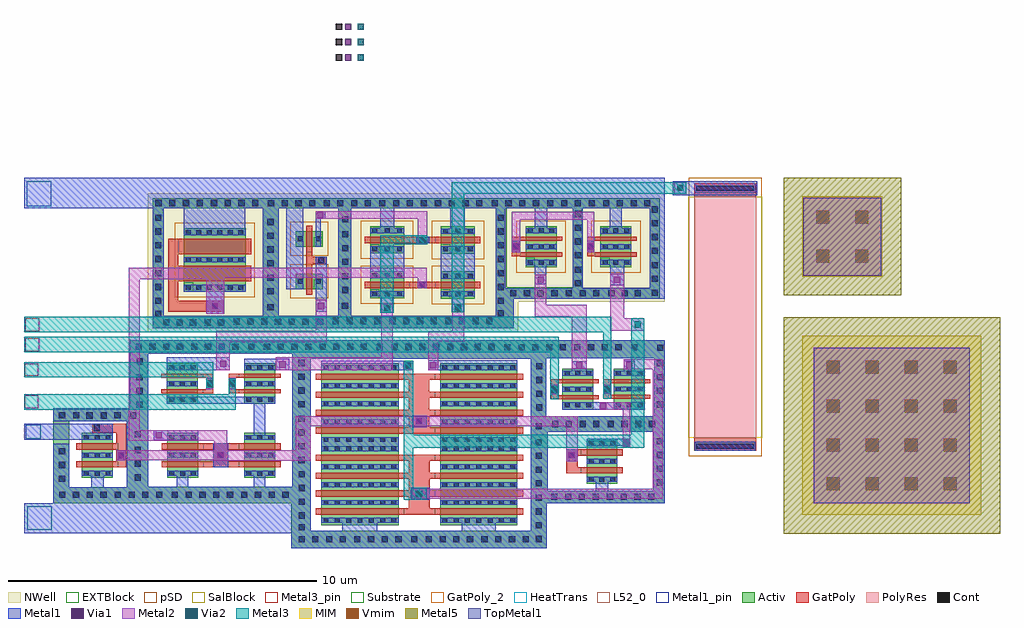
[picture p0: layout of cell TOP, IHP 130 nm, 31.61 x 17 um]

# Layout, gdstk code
from math import pi, radians
import gdstk
lib = gdstk.Library(unit=1e-6, precision=1e-09)
def R(c, l, rs):  # rectangles x0, y0, x1, y1
    for r in rs: c.add(gdstk.rectangle(r[:2], r[2:], *l))
def A(c, l, x, y, w, h, nx, ny, dx, dy):  # array of equal rectangles
    R(c, l, [(x+i*dx, y+j*dy, x+i*dx+w, y+j*dy+h) for i in range(nx) for j in range(ny)])
def P(c, l, *ps):  # polygons
    for p in ps: c.add(gdstk.Polygon(p, *l))
Activ = (1, 0)
GatPoly = (5, 0)
GatPoly_2 = (5, 2)
Cont = (6, 0)
Metal1 = (8, 0)
Metal1_pin = (8, 2)
Metal2 = (10, 0)
pSD = (14, 0)
Via1 = (19, 0)
SalBlock = (28, 0)
Via2 = (29, 0)
Metal3 = (30, 0)
Metal3_pin = (30, 2)
NWell = (31, 0)
MIM = (36, 0)
Substrate = (40, 0)
HeatTrans = (51, 0)
L52_0 = (52, 0)
Metal5 = (67, 0)
EXTBlock = (111, 0)
TopMetal1 = (126, 0)
PolyRes = (128, 0)
Vmim = (129, 0)

pmos_1 = lib.new_cell('pmos$1')
R(pmos_1, Activ, [(0,0,0.3,0.3), (0,0,0.88,0.5), (0.58,0,0.88,0.3)])
R(pmos_1, GatPoly, [(0.34,-0.18,0.54,0.68), (0.34,-0.18,0.54,0.68)])
R(pmos_1, Cont, [(0.07,0.17,0.23,0.33), (0.65,0.17,0.81,0.33)])
R(pmos_1, Metal1, [(0.07,0,0.23,0.5), (0.07,0,0.23,0.5), (0.65,0,0.81,0.5), (0.65,0,0.81,0.5)])
R(pmos_1, pSD, [(-0.18,-0.3,1.06,0.8)])
R(pmos_1, NWell, [(-0.31,-0.31,1.19,0.81)])
R(pmos_1, Substrate, [(0.58,0,0.88,0.3)])
R(pmos_1, HeatTrans, [(0.34,-0.18,0.54,0.68)])
pmos_1.add(gdstk.Label('pmos', (0.44,0.25), layer=63, texttype=0))
pmos_1.add(gdstk.Label('pmos', (0.44,0.25), layer=51, texttype=0))

pmos = lib.new_cell('pmos')
A(pmos, Activ, 0, 0, 0.3, 0.3, 3, 1, 0.88, 0)
R(pmos, Activ, [(0,0,2.06,2)])
R(pmos, GatPoly, [(0.34,-0.18,0.84,2.18), (0.34,-0.18,0.84,2.18), (1.22,-0.18,1.72,2.18)])
A(pmos, Cont, 0.07, 0.07, 0.16, 0.16, 3, 6, 0.88, 0.34)
R(pmos, Metal1, [(0.07,0,0.23,2), (0.07,0,0.23,2), (0.95,0,1.11,2), (0.95,0,1.11,2), (1.83,0,1.99,2)])
R(pmos, pSD, [(-0.18,-0.3,2.24,2.3)])
R(pmos, NWell, [(-0.31,-0.31,2.37,2.31)])
R(pmos, Substrate, [(1.76,0,2.06,0.3)])
R(pmos, HeatTrans, [(0.34,-0.18,0.84,2.18), (1.22,-0.18,1.72,2.18)])
pmos.add(gdstk.Label('pmos', (0.59,1), layer=63, texttype=0))
pmos.add(gdstk.Label('pmos', (0.59,1), layer=51, texttype=0))
pmos.add(gdstk.Label('pmos', (1.47,1), layer=51, texttype=0))

pmos_3 = lib.new_cell('pmos$3')
R(pmos_3, Activ, [(0,0,0.3,0.3), (0,0,0.88,1.1), (0.58,0,0.88,0.3)])
R(pmos_3, GatPoly, [(0.34,-0.18,0.54,1.28), (0.34,-0.18,0.54,1.28)])
A(pmos_3, Cont, 0.07, 0.07, 0.16, 0.16, 1, 3, 0, 0.4)
A(pmos_3, Cont, 0.65, 0.07, 0.16, 0.16, 1, 3, 0, 0.4)
R(pmos_3, Metal1, [(0.07,0,0.23,1.1), (0.07,0,0.23,1.1), (0.65,0,0.81,1.1), (0.65,0,0.81,1.1)])
R(pmos_3, pSD, [(-0.18,-0.3,1.06,1.4)])
R(pmos_3, NWell, [(-0.31,-0.31,1.19,1.41)])
R(pmos_3, Substrate, [(0.58,0,0.88,0.3)])
R(pmos_3, HeatTrans, [(0.34,-0.18,0.54,1.28)])
pmos_3.add(gdstk.Label('pmos', (0.44,0.55), layer=63, texttype=0))
pmos_3.add(gdstk.Label('pmos', (0.44,0.55), layer=51, texttype=0))

pmos_5 = lib.new_cell('pmos$5')
A(pmos_5, Activ, 0, 0, 0.3, 0.3, 3, 1, 0.51, 0)
R(pmos_5, Activ, [(0,0,1.32,1)])
R(pmos_5, GatPoly, [(0.34,-0.18,0.47,1.18), (0.34,-0.18,0.47,1.18), (0.85,-0.18,0.98,1.18)])
A(pmos_5, Cont, 0.07, 0.07, 0.16, 0.16, 3, 3, 0.51, 0.35)
R(pmos_5, Metal1, [(0.07,0,0.23,1), (0.07,0,0.23,1), (0.58,0,0.74,1), (0.58,0,0.74,1), (1.09,0,1.25,1)])
R(pmos_5, pSD, [(-0.18,-0.3,1.5,1.3)])
R(pmos_5, NWell, [(-0.31,-0.31,1.63,1.31)])
R(pmos_5, Substrate, [(1.02,0,1.32,0.3)])
R(pmos_5, HeatTrans, [(0.34,-0.18,0.47,1.18), (0.85,-0.18,0.98,1.18)])
pmos_5.add(gdstk.Label('pmos', (0.405,0.5), layer=63, texttype=0))
pmos_5.add(gdstk.Label('pmos', (0.405,0.5), layer=51, texttype=0))
pmos_5.add(gdstk.Label('pmos', (0.915,0.5), layer=51, texttype=0))

nmos = lib.new_cell('nmos')
A(nmos, Activ, 0, 0, 0.3, 0.3, 3, 1, 0.51, 0)
R(nmos, Activ, [(0,0,1.32,1)])
R(nmos, GatPoly, [(0.34,-0.18,0.47,1.18), (0.85,-0.18,0.98,1.18)])
R(nmos, GatPoly_2, [(0.34,-0.18,0.47,1.18)])
A(nmos, Cont, 0.07, 0.07, 0.16, 0.16, 3, 3, 0.51, 0.35)
A(nmos, Metal1, 0.07, 0, 0.16, 1, 3, 1, 0.51, 0)
R(nmos, Metal1_pin, [(0.07,0,0.23,1), (0.58,0,0.74,1)])
R(nmos, HeatTrans, [(0.34,-0.18,0.47,1.18), (0.85,-0.18,0.98,1.18)])
nmos.add(gdstk.Label('nmos', (0.405,0.5), layer=63, texttype=0))
nmos.add(gdstk.Label('nmos', (0.405,0.5), layer=51, texttype=0))
nmos.add(gdstk.Label('nmos', (0.915,0.5), layer=51, texttype=0))

nmos_5 = lib.new_cell('nmos$5')
A(nmos_5, Activ, 0, 0, 0.3, 0.3, 3, 1, 0.58, 0)
R(nmos_5, Activ, [(0,0,1.46,1)])
R(nmos_5, GatPoly, [(0.34,-0.18,0.54,1.18), (0.92,-0.18,1.12,1.18)])
R(nmos_5, GatPoly_2, [(0.34,-0.18,0.54,1.18)])
A(nmos_5, Cont, 0.07, 0.07, 0.16, 0.16, 3, 3, 0.58, 0.35)
A(nmos_5, Metal1, 0.07, 0, 0.16, 1, 3, 1, 0.58, 0)
R(nmos_5, Metal1_pin, [(0.07,0,0.23,1), (0.65,0,0.81,1)])
R(nmos_5, HeatTrans, [(0.34,-0.18,0.54,1.18), (0.92,-0.18,1.12,1.18)])
nmos_5.add(gdstk.Label('nmos', (0.44,0.5), layer=63, texttype=0))
nmos_5.add(gdstk.Label('nmos', (0.44,0.5), layer=51, texttype=0))
nmos_5.add(gdstk.Label('nmos', (1.02,0.5), layer=51, texttype=0))

nmos_4 = lib.new_cell('nmos$4')
A(nmos_4, Activ, 0, 0, 0.3, 0.3, 5, 1, 0.58, 0)
R(nmos_4, Activ, [(0,0,2.62,2.5)])
A(nmos_4, GatPoly, 0.34, -0.18, 0.2, 2.86, 4, 1, 0.58, 0)
R(nmos_4, GatPoly_2, [(0.34,-0.18,0.54,2.68)])
A(nmos_4, Cont, 0.07, 0.07, 0.16, 0.16, 5, 3, 0.58, 0.365)
A(nmos_4, Cont, 0.07, 1.17, 0.16, 0.16, 5, 3, 0.58, 0.365)
A(nmos_4, Cont, 0.07, 2.27, 0.16, 0.16, 5, 1, 0.58, 0)
A(nmos_4, Metal1, 0.07, 0, 0.16, 2.5, 5, 1, 0.58, 0)
R(nmos_4, Metal1_pin, [(0.07,0,0.23,2.5), (0.65,0,0.81,2.5)])
A(nmos_4, HeatTrans, 0.34, -0.18, 0.2, 2.86, 4, 1, 0.58, 0)
nmos_4.add(gdstk.Label('nmos', (0.44,1.25), layer=63, texttype=0))
nmos_4.add(gdstk.Label('nmos', (0.44,1.25), layer=51, texttype=0))
nmos_4.add(gdstk.Label('nmos', (1.02,1.25), layer=51, texttype=0))
nmos_4.add(gdstk.Label('nmos', (1.6,1.25), layer=51, texttype=0))
nmos_4.add(gdstk.Label('nmos', (2.18,1.25), layer=51, texttype=0))

cmim = lib.new_cell('cmim')
R(cmim, MIM, [(0,0,2.6,2.6)])
R(cmim, Metal5, [(-0.6,-0.6,3.2,3.2)])
R(cmim, TopMetal1, [(0.035,0.035,2.555,2.555)])
R(cmim, Vmim, [(0.455,0.455,0.875,0.875), (1.715,0.455,2.135,0.875), (0.455,1.715,0.875,2.135), (1.715,1.715,2.135,2.135)])

cmim_2 = lib.new_cell('cmim$2')
R(cmim_2, MIM, [(0,0,5.8,5.8)])
R(cmim_2, Metal5, [(-0.6,-0.6,6.4,6.4)])
R(cmim_2, TopMetal1, [(0.375,0.375,5.415,5.415)])
A(cmim_2, Vmim, 0.795, 0.795, 0.42, 0.42, 4, 4, 1.26, 1.26)

rppd = lib.new_cell('rppd')
R(rppd, GatPoly, [(0,-0.43,2,-0.2), (0,-0.2,2,0), (0,7.8,2,8), (0,8,2,8.23)])
R(rppd, Cont, [(0.07,-0.36,1.93,-0.2), (0.07,8,1.93,8.16)])
R(rppd, Metal1, [(0.02,-0.43,1.98,-0.13), (0.02,7.93,1.98,8.23)])
R(rppd, Metal1_pin, [(0.02,-0.43,1.98,-0.13), (0.02,7.93,1.98,8.23)])
R(rppd, pSD, [(-0.18,-0.61,2.18,0), (-0.18,0,2.18,7.8), (-0.18,7.8,2.18,8.41)])
R(rppd, SalBlock, [(-0.2,0,2.2,7.8)])
R(rppd, L52_0, [(0,0,2,7.8)])
R(rppd, EXTBlock, [(-0.18,-0.61,2.18,0), (-0.2,0,2.2,7.8), (-0.18,7.8,2.18,8.41)])
R(rppd, PolyRes, [(0,0,2,7.8)])
rppd.add(gdstk.Label('rpnd r=1045.967', (1,3.9), layer=63, texttype=0))
rppd.add(gdstk.Label('rppd', (1,3.9), layer=52, texttype=0))

top = lib.new_cell('TOP')
P(top, Activ, [(-5.825,0.625),(-5.825,4.51),(-5.485,4.51),(-5.485,4.345),(-5.48,4.345),(-5.48,1.04),(-2.265,1.04),(-2.265,4.51),(-1.755,4.51),(-1.755,1.04),(0.175,1.04),(0.175,4.51),(0.595,4.51),(0.595,1.04),(5.27,1.04),(5.27,4.51),(5.63,4.51),(5.63,1.955),(7.775,1.955),(7.775,4.51),(8.085,4.51),(8.085,1.945),(10.265,1.945),(10.265,4.51),(-5.825,4.51),(-5.825,4.845),(10.595,4.845),(10.595,1.59),(5.855,1.59),(5.855,0.625)],
  [(-1.35,-6.5),(-1.35,-5.04),(-9.05,-5.04),(-9.05,-2.385),(-8.535,-2.385),(-8.535,-4.51),(-6.665,-4.51),(-6.665,-2.385),(-9.05,-2.385),(-9.05,-1.96),(-6.57,-1.96),(-6.57,-0.19),(-5.98,-0.19),(-5.98,-4.495),(-1.315,-4.495),(-1.315,-0.35),(-0.72,-0.35),(-0.72,-2.765),(-0.72,-5.925),(6.405,-5.925),(6.405,-2.72),(6.96,-2.72),(6.96,-4.63),(10.38,-4.63),(10.38,-2.72),(6.405,-2.72),(6.405,-0.35),(-1.315,-0.35),(-1.315,-0.345),(6.915,-0.345),(6.915,-2.22),(10.415,-2.22),(10.415,-0.345),(-1.315,-0.345),(-1.315,-0.19),(-6.57,-0.19),(-6.57,0.25),(10.745,0.25),(10.745,-5.04),(6.92,-5.04),(6.92,-6.5)])
R(top, GatPoly, [(1.03,1.925,4.78,2.14), (1.035,3.39,4.78,3.6)])
P(top, GatPoly, [(-5.335,1.16),(-5.335,3.525),(-2.645,3.525),(-2.645,3.04),(-5.005,3.04),(-5.005,2.65),(-2.645,2.65),(-2.645,2.16),(-5.005,2.16),(-5.005,1.52),(-3.515,1.52),(-3.515,1.16)],
  [(-0.865,1.725),(-0.865,3.955),(-0.665,3.955),(-0.665,2.955),(-0.2,2.955),(-0.2,2.715),(-0.665,2.715),(-0.665,1.725)],
  [(5.79,2.96),(5.79,3.6),(7.425,3.6),(7.425,3.47),(6.07,3.47),(6.07,3.085),(7.425,3.085),(7.425,2.96)],
  [(8.235,2.96),(8.235,3.595),(9.845,3.595),(9.845,3.47),(8.46,3.47),(8.46,3.085),(9.845,3.085),(9.845,2.96)],
  [(-8.31,-3.875),(-8.31,-3.675),(-7.02,-3.675),(-7.02,-3.295),(-8.31,-3.295),(-8.31,-3.095),(-7.02,-3.095),(-7.02,-2.745),(-7.795,-2.745),(-7.795,-2.455),(-6.695,-2.455),(-6.695,-3.875)],
  [(-5.545,-3.875),(-5.545,-3.675),(-3.875,-3.675),(-3.875,-3.295),(-5.545,-3.295),(-5.545,-3.095),(-1.685,-3.095),(-1.685,-3.295),(-3.39,-3.295),(-3.39,-3.675),(-1.685,-3.675),(-1.685,-3.875)],
  [(-5.55,-1.48),(-5.55,-1.35),(-4.1,-1.35),(-4.1,-0.97),(-5.55,-0.97),(-5.55,-0.84),(-3.87,-0.84),(-3.87,-1.48)],
  [(-3.37,-1.48),(-3.37,-0.84),(-1.685,-0.84),(-1.685,-0.97),(-3.14,-0.97),(-3.14,-1.35),(-1.685,-1.35),(-1.685,-1.48)],
  [(8.75,-1.655),(8.75,-1.015),(10.28,-1.015),(10.28,-1.145),(8.995,-1.145),(8.995,-1.525),(10.28,-1.525),(10.28,-1.655)],
  [(7.555,-4.065),(7.555,-3.285),(9.395,-3.285),(9.395,-3.49),(7.93,-3.49),(7.93,-3.865),(9.395,-3.865),(9.395,-4.065)],
  [(7.05,-1.66),(7.05,-1.02),(8.615,-1.02),(8.615,-1.15),(7.3,-1.15),(7.3,-1.53),(8.615,-1.53),(8.615,-1.66)],
  [(-0.55,-5.4),(-0.55,-5.2),(2.455,-5.2),(2.455,-4.82),(-0.55,-4.82),(-0.55,-4.62),(2.46,-4.62),(2.46,-4.24),(-0.55,-4.24),(-0.55,-4.04),(2.465,-4.04),(2.465,-3.66),(-0.55,-3.66),(-0.55,-3.46),(6.16,-3.46),(6.16,-3.66),(3.145,-3.66),(3.145,-4.04),(6.16,-4.04),(6.16,-4.24),(3.145,-4.24),(3.145,-4.62),(6.16,-4.62),(6.16,-4.82),(3.145,-4.82),(3.145,-5.2),(6.16,-5.2),(6.16,-5.4)],
  [(-0.55,-2.78),(-0.55,-2.58),(2.465,-2.58),(2.465,-2.2),(-0.55,-2.2),(-0.55,-2),(2.465,-2),(2.465,-1.62),(-0.55,-1.62),(-0.55,-1.42),(2.465,-1.42),(2.465,-1.04),(-0.55,-1.04),(-0.55,-0.84),(6.16,-0.84),(6.16,-1.04),(3.115,-1.04),(3.115,-1.42),(6.16,-1.42),(6.16,-1.62),(3.115,-1.62),(3.115,-2),(6.16,-2),(6.16,-2.2),(3.115,-2.2),(3.115,-2.58),(6.16,-2.58),(6.16,-2.78)])
A(top, Cont, 3.01, -6.305, 0.2, 0.2, 4, 1, 0.445, 0)
A(top, Cont, 4.81, -6.305, 0.2, 0.2, 4, 1, 0.445, 0)
A(top, Cont, 6.565, -6.29, 0.2, 0.2, 1, 4, 0, 0.445)
A(top, Cont, -1.11, -5.53, 0.2, 0.2, 1, 4, 0, 0.445)
A(top, Cont, 7.075, -4.925, 0.2, 0.2, 4, 1, 0.445, 0)
A(top, Cont, 8.875, -4.925, 0.2, 0.2, 4, 1, 0.445, 0)
A(top, Cont, -4.765, -4.86, 0.2, 0.2, 4, 1, 0.445, 0)
A(top, Cont, -2.965, -4.86, 0.2, 0.2, 4, 1, 0.445, 0)
A(top, Cont, -8.86, -4.855, 0.2, 0.2, 4, 1, 0.445, 0)
A(top, Cont, -7.06, -4.855, 0.2, 0.2, 4, 1, 0.445, 0)
A(top, Cont, 6.565, -4.49, 0.2, 0.2, 1, 4, 0, 0.445)
A(top, Cont, 10.485, -4.465, 0.2, 0.2, 1, 4, 0, 0.445)
A(top, Cont, -8.87, -4.34, 0.2, 0.2, 1, 3, 0, 0.445)
A(top, Cont, -6.42, -4.3, 0.2, 0.2, 1, 3, 0, 0.445)
A(top, Cont, -1.115, -3.735, 0.2, 0.2, 1, 4, 0, 0.445)
A(top, Cont, 7.1, -2.57, 0.2, 0.2, 4, 1, 0.445, 0)
A(top, Cont, 8.9, -2.57, 0.2, 0.2, 4, 1, 0.445, 0)
A(top, Cont, 6.585, -2.035, 0.2, 0.2, 1, 4, 0, 0.445)
A(top, Cont, -6.36, -1.945, 0.2, 0.2, 1, 3, 0, 0.445)
A(top, Cont, 10.495, -1.94, 0.2, 0.2, 1, 4, 0, 0.445)
A(top, Cont, -1.115, -1.93, 0.2, 0.2, 1, 4, 0, 0.445)
A(top, Cont, 6.015, -0.08, 0.2, 0.2, 4, 1, 0.445, 0)
A(top, Cont, 7.815, -0.08, 0.2, 0.2, 4, 1, 0.445, 0)
A(top, Cont, 1.905, -0.075, 0.2, 0.2, 4, 1, 0.445, 0)
A(top, Cont, 3.705, -0.075, 0.2, 0.2, 4, 1, 0.445, 0)
A(top, Cont, -2.23, -0.07, 0.2, 0.2, 4, 1, 0.445, 0)
A(top, Cont, -0.43, -0.07, 0.2, 0.2, 4, 1, 0.445, 0)
A(top, Cont, -6.385, -0.065, 0.2, 0.2, 4, 1, 0.445, 0)
A(top, Cont, -4.585, -0.065, 0.2, 0.2, 4, 1, 0.445, 0)
A(top, Cont, -1.875, 0.745, 0.2, 0.2, 3, 1, 0.445, 0)
A(top, Cont, -3.21, 0.75, 0.2, 0.2, 3, 1, 0.445, 0)
A(top, Cont, 0, 0.765, 0.2, 0.2, 4, 1, 0.445, 0)
A(top, Cont, 1.835, 0.765, 0.2, 0.2, 4, 1, 0.445, 0)
A(top, Cont, 3.635, 0.765, 0.2, 0.2, 4, 1, 0.445, 0)
A(top, Cont, -5.755, 1.42, 0.2, 0.2, 1, 3, 0, 0.445)
A(top, Cont, 7.545, 1.66, 0.2, 0.2, 3, 1, 0.445, 0)
A(top, Cont, -2.115, 2.635, 0.2, 0.2, 1, 4, 0, 0.445)
A(top, Cont, 0.3, 2.681, 0.2, 0.2, 1, 3, 0, 0.445)
A(top, Cont, -5.755, 2.775, 0.2, 0.2, 1, 4, 0, 0.445)
A(top, Cont, 5.335, 2.775, 0.2, 0.2, 1, 4, 0, 0.445)
A(top, Cont, 7.84, 2.895, 0.2, 0.2, 1, 4, 0, 0.445)
A(top, Cont, 10.33, 3.041, 0.2, 0.2, 1, 4, 0, 0.445)
A(top, Cont, 1.505, 4.575, 0.2, 0.2, 4, 1, 0.445, 0)
A(top, Cont, 3.305, 4.575, 0.2, 0.2, 4, 1, 0.445, 0)
A(top, Cont, -2.1, 4.58, 0.2, 0.2, 4, 1, 0.445, 0)
A(top, Cont, -0.3, 4.58, 0.2, 0.2, 4, 1, 0.445, 0)
A(top, Cont, 5.145, 4.58, 0.2, 0.2, 4, 1, 0.445, 0)
A(top, Cont, 6.945, 4.58, 0.2, 0.2, 4, 1, 0.445, 0)
A(top, Cont, 8.75, 4.58, 0.2, 0.2, 4, 1, 0.445, 0)
A(top, Cont, -5.745, 4.585, 0.2, 0.2, 4, 1, 0.445, 0)
A(top, Cont, -3.945, 4.585, 0.2, 0.2, 4, 1, 0.445, 0)
A(top, Cont, 0.1, 9.3, 0.2, 0.2, 1, 3, 0, 0.5)
R(top, Cont, [(2.535,-6.305,2.735,-6.105), (2.535,-6.305,2.735,-6.105), (-1.11,-6.3,-0.91,-6.1), (-1.11,-6.3,-0.91,-6.1), (-0.665,-6.3,-0.465,-6.1), (-0.665,-6.3,-0.465,-6.1), (-0.22,-6.3,-0.02,-6.1), (-0.22,-6.3,-0.02,-6.1), (0.225,-6.3,0.425,-6.1), (0.225,-6.3,0.425,-6.1), (0.69,-6.3,0.89,-6.1), (0.69,-6.3,0.89,-6.1), (1.135,-6.3,1.335,-6.1), (1.135,-6.3,1.335,-6.1), (1.58,-6.3,1.78,-6.1), (1.58,-6.3,1.78,-6.1), (2.025,-6.3,2.225,-6.1), (2.025,-6.3,2.225,-6.1), (-1.11,-5.91,-0.91,-5.71), (-5.215,-4.86,-5.015,-4.66), (2.69,-4.825,2.89,-4.625), (-6.95,-3.59,-6.75,-3.39), (7.63,-3.58,7.83,-3.38), (-3.735,-3.575,-3.535,-3.375), (-6.415,-2.9,-6.215,-2.7), (-7.74,-2.7,-7.54,-2.5), (6.57,-2.645,6.77,-2.445), (2.7,-2.48,2.9,-2.28), (-7.98,-2.295,-7.78,-2.095), (-7.515,-2.295,-7.315,-2.095), (-6.56,-2.295,-6.36,-2.095), (-8.87,-2.29,-8.67,-2.09), (-8.405,-2.29,-8.205,-2.09), (-7.07,-2.29,-6.87,-2.09), (7.075,-1.45,7.275,-1.25), (8.77,-1.445,8.97,-1.245), (-4.085,-1.26,-3.885,-1.06), (-3.355,-1.255,-3.155,-1.055), (-6.355,-0.545,-6.155,-0.345), (10.5,-0.095,10.7,0.105), (9.66,-0.085,9.86,0.115), (5.55,-0.08,5.75,0.12), (1.415,-0.075,1.615,0.125), (-2.74,-0.07,-2.54,0.13), (-5.06,0.72,-4.86,0.92), (-4.625,0.72,-4.425,0.92), (-4.155,0.72,-3.955,0.92), (-3.72,0.72,-3.52,0.92), (-5.49,0.725,-5.29,0.925), (-0.515,0.745,-0.315,0.945), (-5.755,0.995,-5.555,1.195), (5.335,1.015,5.535,1.215), (-2.115,1.215,-1.915,1.415), (-3.92,1.24,-3.72,1.44), (0.295,1.26,0.495,1.46), (5.335,1.419,5.535,1.619), (6.625,1.655,6.825,1.855), (5.745,1.66,5.945,1.86), (6.19,1.66,6.39,1.86), (7.08,1.66,7.28,1.86), (8.925,1.66,9.125,1.86), (9.35,1.66,9.55,1.86), (9.77,1.66,9.97,1.86), (10.33,1.685,10.53,1.885), (-2.115,1.725,-1.915,1.925), (0.3,1.771,0.5,1.971), (5.335,1.865,5.535,2.065), (2.8,1.93,3,2.13), (7.84,1.985,8.04,2.185), (10.33,2.131,10.53,2.331), (-2.115,2.17,-1.915,2.37), (0.3,2.216,0.5,2.416), (5.335,2.31,5.535,2.51), (7.84,2.43,8.04,2.63), (10.33,2.576,10.53,2.776), (-0.475,2.735,-0.275,2.935), (5.83,3.18,6.03,3.38), (8.245,3.18,8.445,3.38), (2.805,3.395,3.005,3.595), (0.3,4.06,0.5,4.26)])
R(top, Metal1, [(2.52,-4.92,3.145,-4.535), (-3.875,-3.875,-3.39,-3.095), (7.555,-3.67,7.925,-3.285), (-7,-3.65,-6.7,-3.325), (-0.37,-3.35,2.13,-2.89), (3.48,-3.35,5.98,-2.89), (8.215,-3.175,9.625,-2.95), (-5.805,-3,-4.365,-2.675), (-10,-2.985,-7.13,-2.455), (2.565,-2.58,3.035,-2.2), (7.435,-2,10.1,-1.765), (7.05,-1.5,7.3,-1.2), (8.75,-1.495,8.995,-1.2), (-4.1,-1.35,-3.87,-0.97), (-3.37,-1.35,-3.14,-0.97), (-5.37,-0.73,-3.33,-0.31), (-2.865,-0.73,-1.405,-0.35), (-0.37,-0.73,2.6,-0.42), (3.09,-0.73,5.98,-0.41), (-0.555,1.16,-0.2,2.955), (2.75,1.925,3.045,2.14), (3.5,2.24,4.6,3.28), (1.21,2.25,2.31,3.29), (5.79,3.085,6.07,3.465), (8.235,3.09,8.46,3.465), (2.7,3.39,3.115,3.6), (11.005,4.945,13.75,5.4)])
P(top, Metal1, [(-5.825,0.625),(-5.825,4.51),(-2.83,4.51),(-2.83,3.655),(-4.825,3.655),(-4.825,4.51),(-5.48,4.51),(-5.48,1.04),(-2.265,1.04),(-2.265,4.51),(-0.955,4.51),(-0.955,1.9),(-1.515,1.9),(-1.515,4.51),(-1.755,4.51),(-1.755,1.04),(0.175,1.04),(0.175,4.51),(4.28,4.51),(4.28,3.86),(4.6,3.86),(4.6,3.7),(3.5,3.7),(3.5,3.86),(3.805,3.86),(3.805,4.51),(1.99,4.51),(1.99,3.87),(2.31,3.87),(2.31,3.71),(1.21,3.71),(1.21,3.87),(1.54,3.87),(1.54,4.51),(0.6,4.51),(0.6,2.585),(0.595,2.585),(0.595,2.25),(0.6,2.25),(0.6,1.04),(5.27,1.04),(5.27,4.51),(6.95,4.51),(6.95,3.865),(7.245,3.865),(7.245,3.705),(6.25,3.705),(6.25,3.865),(6.545,3.865),(6.545,4.51),(5.59,4.51),(5.59,1.925),(7.775,1.925),(7.775,4.51),(9.36,4.51),(9.36,3.865),(9.665,3.865),(9.665,3.7),(8.665,3.7),(8.665,3.865),(8.975,3.865),(8.975,4.51),(8.09,4.51),(8.09,1.935),(10.265,1.935),(10.265,4.51),(-9.995,4.51),(-9.995,5.5),(10.75,5.5),(10.75,1.59),(5.855,1.59),(5.855,0.625)],
  [(-4.1,1.105),(-4.1,1.815),(-4.825,1.815),(-4.825,2.045),(-2.825,2.045),(-2.825,1.815),(-3.515,1.815),(-3.515,1.105)],
  [(1.575,1.14),(1.575,1.67),(1.215,1.67),(1.215,1.83),(2.31,1.83),(2.31,1.67),(1.945,1.67),(1.945,1.14)],
  [(3.86,1.15),(3.86,1.665),(3.5,1.665),(3.5,1.825),(4.6,1.825),(4.6,1.665),(4.245,1.665),(4.245,1.15)],
  [(-0.555,3.275),(-0.555,4.415),(-0.25,4.415),(-0.25,4.18),(-0.395,4.18),(-0.395,3.275)],
  [(6.545,2.05),(6.545,2.665),(6.245,2.665),(6.245,2.845),(7.245,2.845),(7.245,2.665),(6.915,2.665),(6.915,2.05)],
  [(8.98,2.025),(8.98,2.685),(8.665,2.685),(8.665,2.845),(9.665,2.845),(9.665,2.685),(9.43,2.685),(9.43,2.025)],
  [(-2.865,-2.985),(-2.865,-2.825),(-2.565,-2.825),(-2.565,-1.82),(-5.37,-1.82),(-5.37,-1.59),(-1.865,-1.59),(-1.865,-1.82),(-2.18,-1.82),(-2.18,-2.825),(-1.865,-2.825),(-1.865,-2.985)],
  [(-1.35,-6.5),(-1.35,-6),(-9.995,-6),(-9.995,-5.04),(-9.05,-5.04),(-9.05,-3.115),(-8.535,-3.115),(-8.535,-4.51),(-7.825,-4.51),(-7.825,-4.14),(-8.13,-4.14),(-8.13,-3.98),(-7.13,-3.98),(-7.13,-4.14),(-7.425,-4.14),(-7.425,-4.51),(-6.665,-4.51),(-6.665,-2.385),(-9.05,-2.385),(-9.05,-1.96),(-6.57,-1.96),(-6.57,-0.19),(-5.98,-0.19),(-5.98,-4.495),(-5.06,-4.495),(-5.06,-4.145),(-5.365,-4.145),(-5.365,-3.98),(-4.365,-3.98),(-4.365,-4.145),(-4.675,-4.145),(-4.675,-4.495),(-2.555,-4.495),(-2.555,-4.145),(-2.86,-4.145),(-2.86,-3.985),(-1.865,-3.985),(-1.865,-4.145),(-2.18,-4.145),(-2.18,-4.495),(-1.315,-4.495),(-1.315,-0.35),(-0.72,-0.35),(-0.72,-5.925),(0.31,-5.925),(0.31,-5.67),(-0.37,-5.67),(-0.37,-5.51),(2.13,-5.51),(2.13,-5.67),(1.435,-5.67),(1.435,-5.925),(4.18,-5.925),(4.18,-5.665),(3.48,-5.665),(3.48,-5.5),(5.98,-5.5),(5.98,-5.665),(5.27,-5.665),(5.27,-5.925),(6.405,-5.925),(6.405,-2.72),(6.96,-2.72),(6.96,-4.63),(8.515,-4.63),(8.515,-4.335),(8.215,-4.335),(8.215,-4.17),(9.215,-4.17),(9.215,-4.335),(8.925,-4.335),(8.925,-4.63),(10.38,-4.63),(10.38,-2.72),(6.405,-2.72),(6.405,-0.35),(-1.315,-0.35),(-1.315,-0.345),(6.915,-0.345),(6.915,-2.22),(10.415,-2.22),(10.415,-0.345),(-1.315,-0.345),(-1.315,-0.19),(-6.57,-0.19),(-6.57,0.25),(10.745,0.25),(10.745,-5.04),(6.92,-5.04),(6.92,-6.5)],
  [(7.435,-0.91),(7.435,-0.75),(7.745,-0.75),(7.745,-0.435),(8.215,-0.435),(8.215,-0.75),(8.435,-0.75),(8.435,-0.91)],
  [(9.1,-0.905),(9.1,-0.745),(9.425,-0.745),(9.425,-0.425),(9.78,-0.425),(9.78,-0.745),(10.1,-0.745),(10.1,-0.905)])
R(top, Metal1_pin, [(-9.9,-5.9,-9.1,-5.14), (-9.95,-2.95,-9.45,-2.5), (-9.915,4.59,-9.115,5.39)])
R(top, Metal2, [(7.05,-1.5,7.3,-1.2), (8.75,-1.495,8.995,-1.2), (-4.1,-1.35,-3.87,-0.97), (-3.37,-1.35,-3.14,-0.97), (2.285,-0.73,2.6,-0.42), (11.05,4.985,11.45,5.365)])
P(top, Metal2, [(-1.845,-0.73),(-1.845,-0.3),(1.575,-0.3),(1.575,1.42),(1.94,1.42),(1.94,-0.73)],
  [(3.09,-0.73),(3.09,0.54),(3.86,0.54),(3.86,1.41),(4.25,1.41),(4.25,0.2),(3.86,0.2),(3.86,0.205),(3.415,0.205),(3.415,-0.73)],
  [(2.755,3.39),(2.755,4.18),(-0.555,4.18),(-0.555,4.415),(3.055,4.415),(3.055,3.39)],
  [(5.79,3.09),(5.79,4.4),(8.46,4.4),(8.46,3.09),(8.24,3.09),(8.24,4.15),(6.07,4.15),(6.07,3.09)],
  [(-3.77,-0.73),(-3.77,0.545),(-0.555,0.545),(-0.555,1.55),(-0.2,1.55),(-0.2,0.18),(-3.33,0.18),(-3.33,-0.73)],
  [(7.745,-0.68),(7.745,1),(6.545,1),(6.545,2.36),(6.915,2.36),(6.915,1.4),(8.215,1.4),(8.215,-0.68)],
  [(8.98,0.555),(8.98,2.4),(9.43,2.4),(9.43,0.96),(10.085,0.96),(10.085,0.555)],
  [(7.555,-3.675),(7.555,-2.545),(-0.72,-2.545),(-0.72,-3.655),(-3.845,-3.655),(-3.845,-3.65),(-7,-3.65),(-7,-3.325),(-3.845,-3.325),(-3.845,-3.005),(-5.855,-3.005),(-6.605,-3.005),(-6.605,2.59),(3.05,2.59),(3.05,1.925),(2.75,1.925),(2.75,2.265),(-3.51,2.265),(-3.51,1.105),(-4.1,1.105),(-4.1,2.215),(-6.25,2.215),(-6.25,-2.675),(-3.42,-2.675),(-3.42,-3.325),(-1.205,-3.325),(-1.205,-2.225),(7.555,-2.225),(7.555,-2.22),(7.925,-2.22),(7.925,-3.675)],
  [(9.385,-3.2),(9.385,-2),(8.64,-2),(8.64,-1.765),(9.635,-1.765),(9.635,-3.2)],
  [(2.555,-4.885),(2.555,-4.565),(10.355,-4.565),(10.355,-0.69),(9.425,-0.69),(9.425,-0.38),(10.685,-0.38),(10.685,-4.885)])
P(top, pSD, [(-1.35,-6.5),(-1.35,-5.04),(-9.05,-5.04),(-9.05,-2.385),(-8.535,-2.385),(-8.535,-4.51),(-6.665,-4.51),(-6.665,-2.385),(-9.05,-2.385),(-9.05,-1.96),(-6.57,-1.96),(-6.57,-0.19),(-5.98,-0.19),(-5.98,-4.495),(-1.315,-4.495),(-1.315,-0.35),(-0.72,-0.35),(-0.72,-5.925),(6.405,-5.925),(6.405,-2.72),(6.96,-2.72),(6.96,-4.63),(10.38,-4.63),(10.38,-2.72),(6.405,-2.72),(6.405,-0.35),(-1.315,-0.35),(-1.315,-0.345),(6.915,-0.345),(6.915,-2.22),(10.415,-2.22),(10.415,-0.345),(-1.315,-0.345),(-1.315,-0.19),(-6.57,-0.19),(-6.57,0.25),(10.745,0.25),(10.745,-5.04),(6.92,-5.04),(6.92,-6.5)])
A(top, Via1, 0.4, 9.3, 0.2, 0.2, 1, 3, 0, 0.5)
R(top, Via1, [(2.69,-4.825,2.89,-4.625), (-6.95,-3.59,-6.75,-3.39), (7.63,-3.58,7.83,-3.38), (-3.735,-3.575,-3.535,-3.375), (9.405,-3.165,9.605,-2.965), (-5.74,-2.935,-5.54,-2.735), (2.7,-2.48,2.9,-2.28), (8.66,-1.98,8.86,-1.78), (7.075,-1.45,7.275,-1.25), (8.77,-1.445,8.97,-1.245), (-4.085,-1.26,-3.885,-1.06), (-3.355,-1.255,-3.155,-1.055), (2.34,-0.675,2.54,-0.475), (3.145,-0.67,3.345,-0.47), (7.88,-0.66,8.08,-0.46), (9.495,-0.645,9.695,-0.445), (-1.73,-0.64,-1.53,-0.44), (-3.65,-0.615,-3.45,-0.415), (1.66,1.18,1.86,1.38), (3.955,1.185,4.155,1.385), (-3.92,1.24,-3.72,1.44), (-0.48,1.25,-0.28,1.45), (2.8,1.93,3,2.13), (6.635,2.105,6.835,2.305), (9.105,2.105,9.305,2.305), (5.83,3.18,6.03,3.38), (8.245,3.18,8.445,3.38), (2.805,3.395,3.005,3.595), (-0.51,4.2,-0.31,4.4), (11.15,5.08,11.35,5.28)])
A(top, Via2, 0.8, 9.3, 0.2, 0.2, 1, 3, 0, 0.5)
R(top, Via2, [(2.69,-4.825,2.89,-4.625), (7.075,-1.45,7.275,-1.25), (8.77,-1.445,8.97,-1.245), (-4.085,-1.26,-3.885,-1.06), (-3.355,-1.255,-3.155,-1.055), (2.34,-0.675,2.54,-0.475), (9.775,0.655,9.975,0.855), (1.66,1.18,1.86,1.38), (3.955,1.185,4.155,1.385), (2.805,3.395,3.005,3.595), (11.15,5.08,11.35,5.28)])
P(top, Metal3, [(-4.1,-1.295),(-4.1,-0.95),(-10,-0.95),(-10,-0.465),(-3.87,-0.465),(-3.87,-1.295)],
  [(-10,-2),(-10,-1.5),(-3.37,-1.5),(-3.37,-1.005),(-3.14,-1.005),(-3.14,-2)],
  [(1.535,1.14),(1.535,3.645),(3.055,3.645),(3.055,3.345),(1.98,3.345),(1.98,1.14)],
  [(7.045,-1.66),(7.045,-0.145),(-10,-0.145),(-10,0.355),(7.31,0.355),(7.31,0.005),(7.31,-1.66)],
  [(8.75,-1.655),(8.75,0.5),(-10,0.5),(-10,1),(9.01,1),(9.01,-1.655)],
  [(3.855,1.155),(3.855,5.365),(11.45,5.365),(11.45,4.985),(4.25,4.985),(4.25,1.155)],
  [(2.29,-4.92),(2.29,-0.42),(2.61,-0.42),(2.61,-2.815),(9.66,-2.815),(9.66,0.96),(10.085,0.96),(10.085,-3.235),(2.61,-3.235),(2.61,-4.535),(3.035,-4.535),(3.035,-4.92)])
R(top, Metal3_pin, [(-9.97,-0.9,-9.545,-0.52), (-9.965,-0.11,-9.51,0.315), (-9.965,0.535,-9.5,0.955)])
P(top, Metal3_pin, [(-9.98,-1.965),(-9.98,-1.54),(-9.54,-1.54),(-9.54,-1.555),(-9.54,-1.965)])
P(top, NWell, [(-5.995,0.51),(-5.995,5),(10.75,5),(10.75,1.495),(6,1.495),(6,0.51)])
top.add(gdstk.Reference(pmos_1, (-1.205,1.9)))
top.add(gdstk.Reference(pmos_1, (-1.205,3.275)))
top.add(gdstk.Reference(pmos, (-4.825,3.875), rotation=3*pi/2))
top.add(gdstk.Reference(pmos_3, (3.5,2.47), rotation=3*pi/2))
top.add(gdstk.Reference(pmos_3, (3.5,3.93), rotation=3*pi/2))
top.add(gdstk.Reference(pmos_3, (1.21,2.48), rotation=3*pi/2))
top.add(gdstk.Reference(pmos_3, (1.21,3.94), rotation=3*pi/2))
top.add(gdstk.Reference(pmos_5, (6.245,3.935), rotation=3*pi/2))
top.add(gdstk.Reference(nmos, (-5.37,-0.5), rotation=3*pi/2))
top.add(gdstk.Reference(pmos_5, (8.665,3.935), rotation=3*pi/2))
top.add(gdstk.Reference(nmos, (-2.865,-0.5), rotation=3*pi/2))
top.add(gdstk.Reference(nmos, (7.435,-0.68), rotation=3*pi/2))
top.add(gdstk.Reference(nmos, (9.1,-0.675), rotation=3*pi/2))
top.add(gdstk.Reference(nmos_5, (-5.365,-2.755), rotation=3*pi/2))
top.add(gdstk.Reference(nmos_5, (-2.865,-2.755), rotation=3*pi/2))
top.add(gdstk.Reference(nmos_5, (-8.13,-2.755), rotation=3*pi/2))
top.add(gdstk.Reference(nmos_5, (8.215,-2.945), rotation=3*pi/2))
top.add(gdstk.Reference(nmos_4, (3.48,-3.12), rotation=3*pi/2))
top.add(gdstk.Reference(nmos_4, (3.48,-0.5), rotation=3*pi/2))
top.add(gdstk.Reference(nmos_4, (-0.37,-3.12), rotation=3*pi/2))
top.add(gdstk.Reference(nmos_4, (-0.37,-0.5), rotation=3*pi/2))
top.add(gdstk.Reference(cmim, (15.2,2.3)))
top.add(gdstk.Reference(cmim_2, (15.205,-5.415)))
top.add(gdstk.Reference(rppd, (11.705,-2.91)))

lib.write_gds('TOP.gds')
